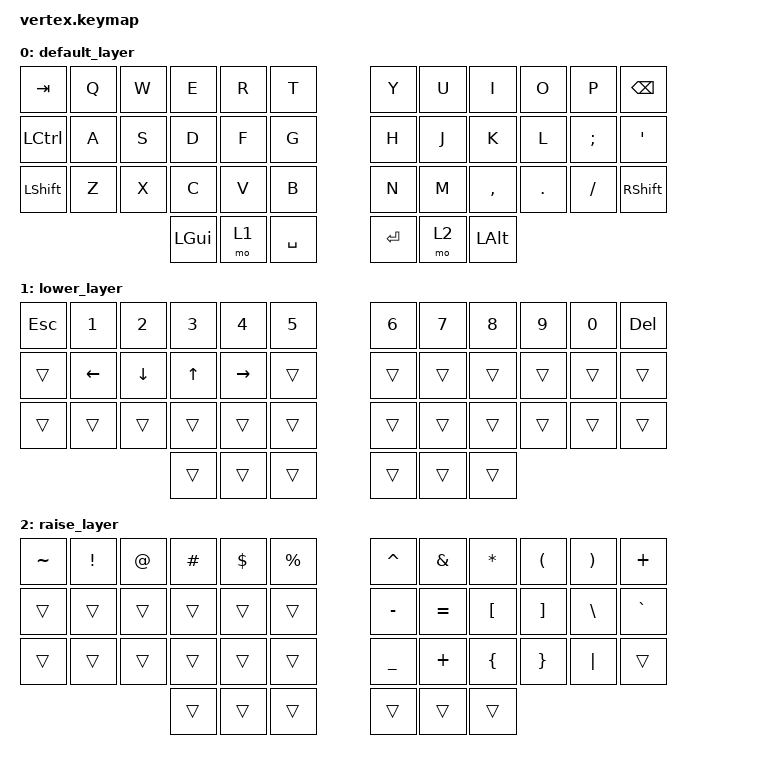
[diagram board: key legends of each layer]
#include <behaviors.dtsi>
#include <dt-bindings/zmk/keys.h>
#include <dt-bindings/zmk/bt.h>

/ {
    keymap {
        compatible = "zmk,keymap";

        default_layer {
            bindings = <
&kp TAB    &kp Q      &kp W      &kp E       &kp R       &kp T         &kp Y      &kp U       &kp I       &kp O      &kp P     &kp BSPC
&kp LCTRL  &kp A      &kp S      &kp D       &kp F       &kp G         &kp H      &kp J       &kp K       &kp L      &kp SEMI  &kp SQT
&kp LSHFT  &kp Z      &kp X      &kp C       &kp V       &kp B         &kp N      &kp M       &kp COMMA   &kp DOT    &kp FSLH  &kp RSHFT
                                 &kp LGUI    &mo 1       &kp SPACE     &kp ENTER  &mo 2       &kp LALT
            >;
        };

        lower_layer {
            bindings = <
&kp ESC    &kp N1     &kp N2     &kp N3      &kp N4      &kp N5        &kp N6     &kp N7      &kp N8      &kp N9     &kp N0    &kp DEL
&trans     &kp LEFT   &kp DOWN   &kp UP      &kp RIGHT   &trans        &trans     &trans      &trans      &trans     &trans    &trans
&trans     &trans     &trans     &trans      &trans      &trans        &trans     &trans      &trans      &trans     &trans    &trans
                                 &trans      &trans      &trans        &trans     &trans      &trans
            >;
        };

        raise_layer {
            bindings = <
&kp TILDE  &kp EXCL   &kp AT     &kp HASH    &kp DLLR    &kp PRCNT     &kp CARET  &kp AMPS    &kp STAR    &kp LPAR   &kp RPAR  &kp PLUS
&trans     &trans     &trans     &trans      &trans      &trans        &kp MINUS  &kp EQUAL   &kp LBKT    &kp RBKT   &kp BSLH  &kp GRAVE
&trans     &trans     &trans     &trans      &trans      &trans        &kp UNDER  &kp PLUS    &kp LBRC    &kp RBRC   &kp PIPE  &trans
                                 &trans      &trans      &trans        &trans     &trans      &trans
            >;
        };
    };
};
